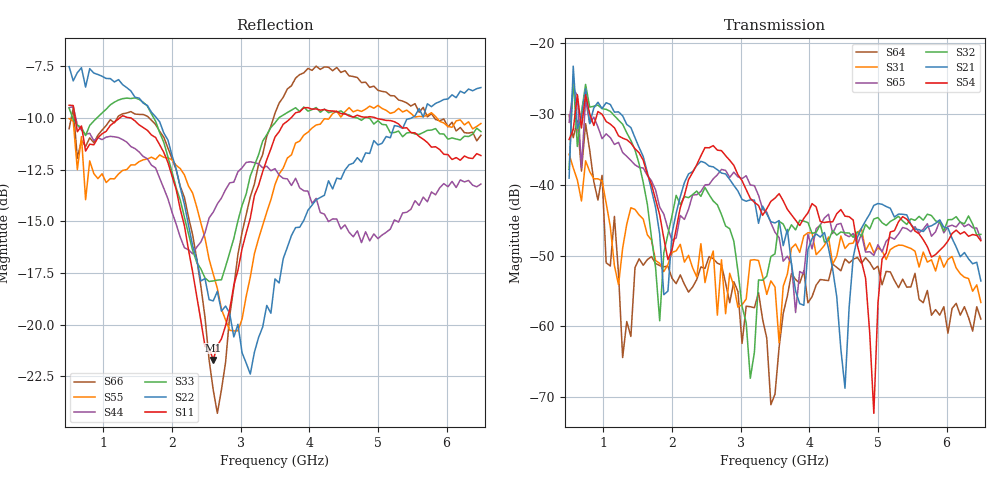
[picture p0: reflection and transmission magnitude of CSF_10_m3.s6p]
!Keysight Technologies,M9804A,MY58100912,A.14.10.03
!Date: Thursday, April 27, 2023 10:28:33
!Correction: S11(C  6-Port  )
!S12(C  6-Port  )
!S13(C  6-Port  )
!S14(C  6-Port  )
!S15(C  6-Port  )
!S16(C  6-Port  )
!S21(C  6-Port  )
!S22(C  6-Port  )
!S23(C  6-Port  )
!S24(C  6-Port  )
!S25(C  6-Port  )
!S26(C  6-Port  )
!S31(C  6-Port  )
!S32(C  6-Port  )
!S33(C  6-Port  )
!S34(C  6-Port  )
!S35(C  6-Port  )
!S36(C  6-Port  )
!S41(C  6-Port  )
!S42(C  6-Port  )
!S43(C  6-Port  )
!S44(C  6-Port  )
!S45(C  6-Port  )
!S46(C  6-Port  )
!S51(C  6-Port  )
!S52(C  6-Port  )
!S53(C  6-Port  )
!S54(C  6-Port  )
!S55(C  6-Port  )
!S56(C  6-Port  )
!S61(C  6-Port  )
!S62(C  6-Port  )
!S63(C  6-Port  )
!S64(C  6-Port  )
!S65(C  6-Port  )
!S66(C  6-Port  )
!S6P File: Measurement: :
# Hz S  RI  R 50
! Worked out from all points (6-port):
!   101 points, 500 MHz to 6.5 GHz, reference 50 ohm
!   strongest paths, dB at 500 MHz, 2 GHz, 3.5 GHz, 5 GHz, 6.5 GHz:
!     S54: -33.6, -49.2, -41.9, -56.7, -47.9
!     S21: -39.1, -46.8, -45.4, -42.6, -53.6
!     S32: -37.8, -44.4, -49.8, -44.6, -47.0
!     S65: -31.2, -47.9, -46.7, -48.5, -47.7
!     S31: -35.7, -49.6, -54.4, -48.9, -56.6
!     S64: -30.2, -53.2, -69.6, -51.5, -59.0
!   lowest |S11| = -21.7 dB at 2.6 GHz (marker M1), VSWR 1.18, Z = 42.7 + j2.1 ohm
!   |S11| at or under -10 dB: 588.7 MHz to 1.237 GHz (648 MHz wide, 71 % of centre); 1.404 GHz to 3.73 GHz (2.327 GHz wide, 90.6 % of centre); 4.971 GHz to end of sweep
